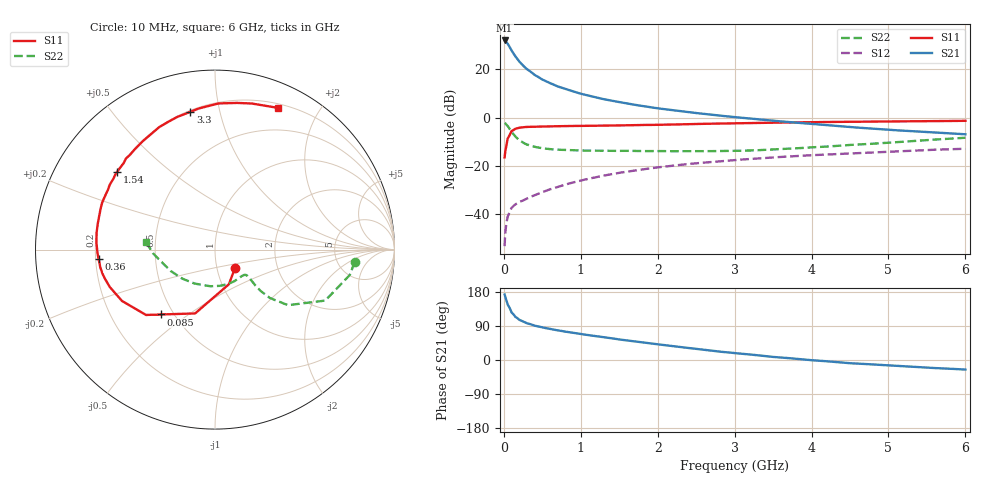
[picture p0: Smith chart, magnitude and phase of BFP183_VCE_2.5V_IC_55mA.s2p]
! Infineon Technologies  Discrete & RF Semiconductors
! BFP183
! VCE = 2.5 V,  IC =  55 mA
! Common Emitter S-Parameters:  Jan 2016
# GHz  S  MA  R  50
!  f  S11  S21  S12  S22
! GHz  MAG  ANG  MAG  ANG  MAG  ANG  MAG  ANG
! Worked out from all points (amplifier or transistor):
!   210 points, 10 MHz to 6 GHz, reference 50 ohm
!   highest |S21| = 32.0 dB at 10 MHz (marker M1)
!   |S21| within 3 dB of that: start of sweep to 79.19 MHz
!   unconditionally stable (mu >= 1): start of sweep to 27.2 MHz; 222.9 MHz to end of sweep
!   at 185 MHz: K = 0.90, MSG = 29.6 dB, |S12| = -35.1 dB
!   at 1.52 GHz: K = 1.56, MAG = 10.1 dB, |S12| = -22.7 dB
!   at 6 GHz: K = 1.21, MAG = 0.2 dB, |S12| = -12.8 dB
!   S11 on the Smith chart (normalised r, x): 10 MHz: 1.22, -0.25; 85 MHz: 0.43, -0.40; 360 MHz: 0.21, -0.04; 1.54 GHz: 0.20, +0.34; 3.3 GHz: 0.21, +0.81; 6 GHz: 0.24, +1.51
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0.01  0.1511 -42.2  39.77 172.7  0.0022 67.1  0.7815 -5.1
0.02  0.2082 -68.2  39.18 165.5  0.0044 65.8  0.7639 -10.7
0.05  0.3725 -107.3  34.15 146.3  0.009 63.6  0.6767 -24.8
0.085  0.4712 -129.9  27.1 133.3  0.0122 54.4  0.5578 -32.8
0.1  0.5293 -136.5  24.68 125.6  0.0136 51.8  0.5112 -37.3
0.15  0.5919 -151.1  18.6 113.8  0.0162 48.7  0.4071 -41.4
0.2  0.6221 -160.4  14.62 106.2  0.0181 48.5  0.3441 -42.2
0.26  0.6401 -167.5  11.61 100.2  0.0198 49.8  0.2998 -41.6
0.3  0.6468 -171.2  10.15 97.0  0.0214 50.7  0.2787 -40.9
0.36  0.6506 -175.4  8.675 93.6  0.0235 53.9  0.2612 -40.1
0.4  0.655 -178.2  7.715 90.6  0.0249 55.8  0.2496 -39.5
0.5  0.6619 176.5  6.18 85.9  0.0288 57.1  0.2335 -39.0
0.6  0.6666 171.6  5.212 81.8  0.033 58.8  0.2238 -39.2
0.8  0.6715 164.1  3.931 74.8  0.0414 61.0  0.2152 -41.0
1.02  0.6812 156.7  3.088 68.0  0.0509 61.4  0.2096 -44.8
1.54  0.6964 141.6  2.059 53.3  0.0741 59.2  0.2064 -56.4
2.02  0.7164 128.2  1.553 40.9  0.0947 55.3  0.2047 -70.1
3.1  0.7713 104.0  0.997 16.4  0.1367 44.5  0.2078 -107.3
3.3  0.7798 100.2  0.929 12.5  0.1438 42.5  0.2129 -114.5
4.1  0.8159 87.2  0.724 -1.9  0.1707 34.3  0.2484 -142.0
5.1  0.8407 74.8  0.551 -15.4  0.201 25.4  0.3118 -168.7
6  0.8642 66.0  0.455 -25.2  0.2283 15.9  0.3856 174.0
